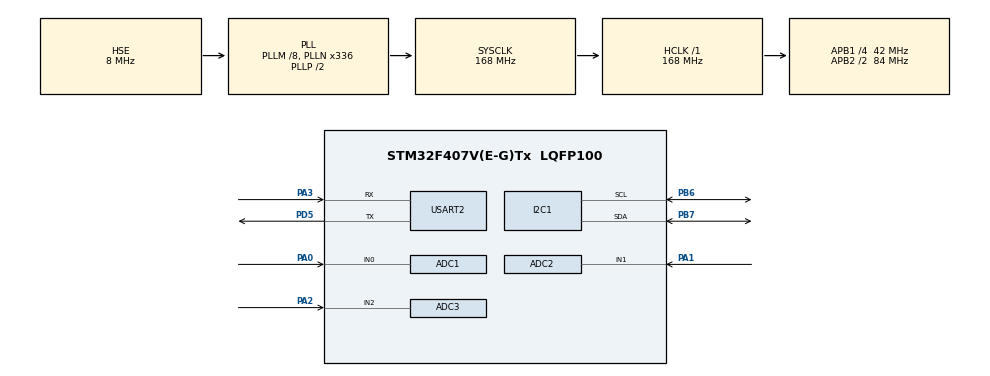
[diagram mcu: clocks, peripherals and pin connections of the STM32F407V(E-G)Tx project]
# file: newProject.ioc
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ADC1.Channel-0\#ChannelRegularConversion=ADC_CHANNEL_0
ADC1.NbrOfConversionFlag=1
ADC1.Rank-0\#ChannelRegularConversion=1
ADC1.SamplingTime-0\#ChannelRegularConversion=ADC_SAMPLETIME_3CYCLES
ADC1.master=1
ADC2.Channel-0\#ChannelRegularConversion=ADC_CHANNEL_1
ADC2.NbrOfConversionFlag=1
ADC2.Rank-0\#ChannelRegularConversion=1
ADC2.SamplingTime-0\#ChannelRegularConversion=ADC_SAMPLETIME_3CYCLES
ADC3.Channel-0\#ChannelRegularConversion=ADC_CHANNEL_2
ADC3.NbrOfConversionFlag=1
ADC3.Rank-0\#ChannelRegularConversion=1
ADC3.SamplingTime-0\#ChannelRegularConversion=ADC_SAMPLETIME_3CYCLES
Mcu.Family=STM32F4
Mcu.Name=STM32F407V(E-G)Tx
Mcu.Package=LQFP100
NVIC.PriorityGroup=NVIC_PRIORITYGROUP_0
PA0-WKUP.Signal=ADCx_IN0
PA1.Signal=ADCx_IN1
PA13.Mode=Serial_Wire
PA13.Signal=SYS_JTMS-SWDIO
PA14.Mode=Serial_Wire
PA14.Signal=SYS_JTCK-SWCLK
PA2.Signal=ADCx_IN2
PA3.Mode=Asynchronous
PA3.Signal=USART2_RX
PB6.Mode=I2C
PB6.Signal=I2C1_SCL
PB7.Mode=I2C
PB7.Signal=I2C1_SDA
PD5.Mode=Asynchronous
PD5.Signal=USART2_TX
PH0-OSC_IN.Mode=HSE-External-Oscillator
PH0-OSC_IN.Signal=RCC_OSC_IN
PH1-OSC_OUT.Mode=HSE-External-Oscillator
PH1-OSC_OUT.Signal=RCC_OSC_OUT
ProjectManager.HeapSize=0x200
ProjectManager.StackSize=0x400
ProjectManager.TargetToolchain=STM32CubeIDE
RCC.48MHZClocksFreq_Value=48000000
RCC.AHBFreq_Value=168000000
RCC.APB1CLKDivider=RCC_HCLK_DIV4
RCC.APB1Freq_Value=42000000
RCC.APB1TimFreq_Value=84000000
RCC.APB2CLKDivider=RCC_HCLK_DIV2
RCC.APB2Freq_Value=84000000
RCC.APB2TimFreq_Value=168000000
RCC.CortexFreq_Value=168000000
RCC.HCLKFreq_Value=168000000
RCC.HSE_VALUE=8000000
RCC.HSI_VALUE=16000000
RCC.LSE_VALUE=32768
RCC.PLLM=8
RCC.PLLN=336
RCC.PLLQ=7
RCC.PLLSourceVirtual=RCC_PLLSOURCE_HSE
RCC.SYSCLKFreq_VALUE=168000000
RCC.SYSCLKSource=RCC_SYSCLKSOURCE_PLLCLK
RCC.VCOOutputFreq_Value=336000000
SH.ADCx_IN0.0=ADC1_IN0,IN0
SH.ADCx_IN1.0=ADC2_IN1,IN1
SH.ADCx_IN2.0=ADC3_IN2,IN2
USART2.VirtualMode=VM_ASYNC
board=STM32F407G-DISC1

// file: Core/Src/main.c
/* USER CODE BEGIN Header */
/**
  ******************************************************************************
  * @file           : main.c
  * @brief          : Main program body
  ******************************************************************************
  * @attention
  *
  * Copyright (c) 2024 STMicroelectronics.
  * All rights reserved.
  *
  * This software is licensed under terms that can be found in the LICENSE file
  * in the root directory of this software component.
  * If no LICENSE file comes with this software, it is provided AS-IS.
  *
  ******************************************************************************
  */
/* USER CODE END Header */
#include "main.h"

/* USER CODE BEGIN Includes */
#include<stdio.h>
#include<string.h>
#include "i2c-lcd.h"
/* USER CODE END Includes */

/* USER CODE BEGIN PD */
struct data{

	float temp;
	float pulse;
};
/* USER CODE END PD */

ADC_HandleTypeDef hadc1;
ADC_HandleTypeDef hadc2;
ADC_HandleTypeDef hadc3;

I2C_HandleTypeDef hi2c1;

UART_HandleTypeDef huart2;

void SystemClock_Config(void);
static void MX_GPIO_Init(void);
static void MX_I2C1_Init(void);
static void MX_ADC1_Init(void);
static void MX_ADC2_Init(void);
static void MX_USART2_UART_Init(void);
static void MX_ADC3_Init(void);

/* USER CODE BEGIN 0 */
int row=0;
int col=0;

const uint16_t SENSOR_MIN=0;

const uint16_t SENSOR_MAX=700;

const uint16_t BPM_MIN=0;

const uint16_t BPM_MAX=120;

float value;
int pulse;
char str[60],str1[40],str2[15],str3[20],str4[50],str5[50];
/* USER CODE END 0 */

int main(void)
{

  /* MCU Configuration--------------------------------------------------------*/

  /* Reset of all peripherals, Initializes the Flash interface and the Systick. */
  HAL_Init();

  /* USER CODE BEGIN Init */
  uint16_t mapSensorToBPM(uint16_t sensorValue)

    {

  	  return (sensorValue - SENSOR_MIN)*(BPM_MAX - BPM_MIN)/(SENSOR_MAX - SENSOR_MIN) + BPM_MIN;

    }
  /* USER CODE END Init */

  /* Configure the system clock */
  SystemClock_Config();

  /* Initialize all configured peripherals */
  MX_GPIO_Init();
  MX_I2C1_Init();
  MX_ADC1_Init();
  MX_ADC2_Init();
  MX_USART2_UART_Init();
  MX_ADC3_Init();
  /* USER CODE BEGIN 2 */
      lcd_init ();
      lcd_put_cur(0, 1);
      lcd_send_string ("Hello..");

      lcd_put_cur(1, 0);
      lcd_send_string ("DESD");

      HAL_Delay(2000);

      lcd_clear ();

      lcd_put_cur(0,0);
  /* USER CODE END 2 */

  /* Infinite loop */
  while (1)
  {

    /* USER CODE BEGIN 3 */

    //struct data d;
	  HAL_ADC_Start(&hadc1);

	 	  HAL_ADC_PollForConversion(&hadc1, HAL_MAX_DELAY);

	 	  value = HAL_ADC_GetValue(&hadc1);

	 	  HAL_ADC_Stop(&hadc1);

	       float temperature =(value * 3300.00 / 4096.00 / 10.00);

	       if(temperature>=37)
	       {
	    	   HAL_GPIO_WritePin(GPIOD, GPIO_PIN_14, GPIO_PIN_SET);

	       }

	    	sprintf(str1, "Temp: %.1fC", temperature);
	        sprintf(str4,"field1=%.1f&",temperature);
	       //d.temp=value;
	       lcd_put_cur(0,1);
	       lcd_send_string(str1);
	       HAL_Delay(400);

	       HAL_ADC_Stop(&hadc1);

	       HAL_ADC_Start(&hadc2);
	       HAL_ADC_PollForConversion(&hadc2, HAL_MAX_DELAY);
	       uint16_t pulse_value = HAL_ADC_GetValue(&hadc2);
	       value = mapSensorToBPM(pulse_value);
	      // d.pulse=value;
	       pulse= mapSensorToBPM(value);
	       if(pulse>=60 && pulse<=100)
	       {
	       sprintf(str2,"BMP:%d",pulse);

	       sprintf(str5,"field2=%d",pulse);
	       lcd_put_cur(1,0);
	       lcd_send_string(str2);

	       HAL_ADC_Stop(&hadc2);
	       strcat(str4,str5);
	       //strcat(str1,"\n");
	       }
	       HAL_UART_Transmit(&huart2, (uint8_t *)str4, sizeof(str4), HAL_MAX_DELAY);

	       HAL_Delay(5000);

	       //HAL_UART_Transmit(&huart2, (uint8_t *)str, sizeof(str), HAL_MAX_DELAY);

//	       strcpy(str,str1);
//
//	       strcat(str,str2);
//
//	       HAL_UART_Transmit(&huart2, (uint8_t *)str, sizeof(str), HAL_MAX_DELAY);
	       //HAL_Delay(5000);
  }
  /* USER CODE END 3 */
}

void SystemClock_Config(void)
{
  RCC_OscInitTypeDef RCC_OscInitStruct = {0};
  RCC_ClkInitTypeDef RCC_ClkInitStruct = {0};

  /** Configure the main internal regulator output voltage
  */
  __HAL_RCC_PWR_CLK_ENABLE();
  __HAL_PWR_VOLTAGESCALING_CONFIG(PWR_REGULATOR_VOLTAGE_SCALE1);

  /** Initializes the RCC Oscillators according to the specified parameters
  * in the RCC_OscInitTypeDef structure.
  */
  RCC_OscInitStruct.OscillatorType = RCC_OSCILLATORTYPE_HSE;
  RCC_OscInitStruct.HSEState = RCC_HSE_ON;
  RCC_OscInitStruct.PLL.PLLState = RCC_PLL_ON;
  RCC_OscInitStruct.PLL.PLLSource = RCC_PLLSOURCE_HSE;
  RCC_OscInitStruct.PLL.PLLM = 8;
  RCC_OscInitStruct.PLL.PLLN = 336;
  RCC_OscInitStruct.PLL.PLLP = RCC_PLLP_DIV2;
  RCC_OscInitStruct.PLL.PLLQ = 7;
  if (HAL_RCC_OscConfig(&RCC_OscInitStruct) != HAL_OK)
  {
    Error_Handler();
  }

  /** Initializes the CPU, AHB and APB buses clocks
  */
  RCC_ClkInitStruct.ClockType = RCC_CLOCKTYPE_HCLK|RCC_CLOCKTYPE_SYSCLK
                              |RCC_CLOCKTYPE_PCLK1|RCC_CLOCKTYPE_PCLK2;
  RCC_ClkInitStruct.SYSCLKSource = RCC_SYSCLKSOURCE_PLLCLK;
  RCC_ClkInitStruct.AHBCLKDivider = RCC_SYSCLK_DIV1;
  RCC_ClkInitStruct.APB1CLKDivider = RCC_HCLK_DIV4;
  RCC_ClkInitStruct.APB2CLKDivider = RCC_HCLK_DIV2;

  if (HAL_RCC_ClockConfig(&RCC_ClkInitStruct, FLASH_LATENCY_5) != HAL_OK)
  {
    Error_Handler();
  }
}

static void MX_ADC1_Init(void)
{

  ADC_ChannelConfTypeDef sConfig = {0};

  /** Configure the global features of the ADC (Clock, Resolution, Data Alignment and number of conversion)
  */
  hadc1.Instance = ADC1;
  hadc1.Init.ClockPrescaler = ADC_CLOCK_SYNC_PCLK_DIV4;
  hadc1.Init.Resolution = ADC_RESOLUTION_12B;
  hadc1.Init.ScanConvMode = DISABLE;
  hadc1.Init.ContinuousConvMode = DISABLE;
  hadc1.Init.DiscontinuousConvMode = DISABLE;
  hadc1.Init.ExternalTrigConvEdge = ADC_EXTERNALTRIGCONVEDGE_NONE;
  hadc1.Init.ExternalTrigConv = ADC_SOFTWARE_START;
  hadc1.Init.DataAlign = ADC_DATAALIGN_RIGHT;
  hadc1.Init.NbrOfConversion = 1;
  hadc1.Init.DMAContinuousRequests = DISABLE;
  hadc1.Init.EOCSelection = ADC_EOC_SINGLE_CONV;
  if (HAL_ADC_Init(&hadc1) != HAL_OK)
  {
    Error_Handler();
  }

  /** Configure for the selected ADC regular channel its corresponding rank in the sequencer and its sample time.
  */
  sConfig.Channel = ADC_CHANNEL_0;
  sConfig.Rank = 1;
  sConfig.SamplingTime = ADC_SAMPLETIME_3CYCLES;
  if (HAL_ADC_ConfigChannel(&hadc1, &sConfig) != HAL_OK)
  {
    Error_Handler();
  }

}

static void MX_ADC2_Init(void)
{

  ADC_ChannelConfTypeDef sConfig = {0};

  /** Configure the global features of the ADC (Clock, Resolution, Data Alignment and number of conversion)
  */
  hadc2.Instance = ADC2;
  hadc2.Init.ClockPrescaler = ADC_CLOCK_SYNC_PCLK_DIV4;
  hadc2.Init.Resolution = ADC_RESOLUTION_12B;
  hadc2.Init.ScanConvMode = DISABLE;
  hadc2.Init.ContinuousConvMode = DISABLE;
  hadc2.Init.DiscontinuousConvMode = DISABLE;
  hadc2.Init.ExternalTrigConvEdge = ADC_EXTERNALTRIGCONVEDGE_NONE;
  hadc2.Init.ExternalTrigConv = ADC_SOFTWARE_START;
  hadc2.Init.DataAlign = ADC_DATAALIGN_RIGHT;
  hadc2.Init.NbrOfConversion = 1;
  hadc2.Init.DMAContinuousRequests = DISABLE;
  hadc2.Init.EOCSelection = ADC_EOC_SINGLE_CONV;
  if (HAL_ADC_Init(&hadc2) != HAL_OK)
  {
    Error_Handler();
  }

  /** Configure for the selected ADC regular channel its corresponding rank in the sequencer and its sample time.
  */
  sConfig.Channel = ADC_CHANNEL_1;
  sConfig.Rank = 1;
  sConfig.SamplingTime = ADC_SAMPLETIME_3CYCLES;
  if (HAL_ADC_ConfigChannel(&hadc2, &sConfig) != HAL_OK)
  {
    Error_Handler();
  }

}

static void MX_ADC3_Init(void)
{

  ADC_ChannelConfTypeDef sConfig = {0};

  /** Configure the global features of the ADC (Clock, Resolution, Data Alignment and number of conversion)
  */
  hadc3.Instance = ADC3;
  hadc3.Init.ClockPrescaler = ADC_CLOCK_SYNC_PCLK_DIV4;
  hadc3.Init.Resolution = ADC_RESOLUTION_12B;
  hadc3.Init.ScanConvMode = DISABLE;
  hadc3.Init.ContinuousConvMode = DISABLE;
  hadc3.Init.DiscontinuousConvMode = DISABLE;
  hadc3.Init.ExternalTrigConvEdge = ADC_EXTERNALTRIGCONVEDGE_NONE;
  hadc3.Init.ExternalTrigConv = ADC_SOFTWARE_START;
  hadc3.Init.DataAlign = ADC_DATAALIGN_RIGHT;
  hadc3.Init.NbrOfConversion = 1;
  hadc3.Init.DMAContinuousRequests = DISABLE;
  hadc3.Init.EOCSelection = ADC_EOC_SINGLE_CONV;
  if (HAL_ADC_Init(&hadc3) != HAL_OK)
  {
    Error_Handler();
  }

  /** Configure for the selected ADC regular channel its corresponding rank in the sequencer and its sample time.
  */
  sConfig.Channel = ADC_CHANNEL_2;
  sConfig.Rank = 1;
  sConfig.SamplingTime = ADC_SAMPLETIME_3CYCLES;
  if (HAL_ADC_ConfigChannel(&hadc3, &sConfig) != HAL_OK)
  {
    Error_Handler();
  }

}

static void MX_I2C1_Init(void)
{

  hi2c1.Instance = I2C1;
  hi2c1.Init.ClockSpeed = 100000;
  hi2c1.Init.DutyCycle = I2C_DUTYCYCLE_2;
  hi2c1.Init.OwnAddress1 = 0;
  hi2c1.Init.AddressingMode = I2C_ADDRESSINGMODE_7BIT;
  hi2c1.Init.DualAddressMode = I2C_DUALADDRESS_DISABLE;
  hi2c1.Init.OwnAddress2 = 0;
  hi2c1.Init.GeneralCallMode = I2C_GENERALCALL_DISABLE;
  hi2c1.Init.NoStretchMode = I2C_NOSTRETCH_DISABLE;
  if (HAL_I2C_Init(&hi2c1) != HAL_OK)
  {
    Error_Handler();
  }

}

static void MX_USART2_UART_Init(void)
{

  huart2.Instance = USART2;
  huart2.Init.BaudRate = 115200;
  huart2.Init.WordLength = UART_WORDLENGTH_8B;
  huart2.Init.StopBits = UART_STOPBITS_1;
  huart2.Init.Parity = UART_PARITY_NONE;
  huart2.Init.Mode = UART_MODE_TX_RX;
  huart2.Init.HwFlowCtl = UART_HWCONTROL_NONE;
  huart2.Init.OverSampling = UART_OVERSAMPLING_16;
  if (HAL_UART_Init(&huart2) != HAL_OK)
  {
    Error_Handler();
  }

}

static void MX_GPIO_Init(void)
{

  /* GPIO Ports Clock Enable */
  __HAL_RCC_GPIOH_CLK_ENABLE();
  __HAL_RCC_GPIOA_CLK_ENABLE();
  __HAL_RCC_GPIOD_CLK_ENABLE();
  __HAL_RCC_GPIOB_CLK_ENABLE();

}

void Error_Handler(void)
{
  __disable_irq();
  while (1)
  {
  }
}
